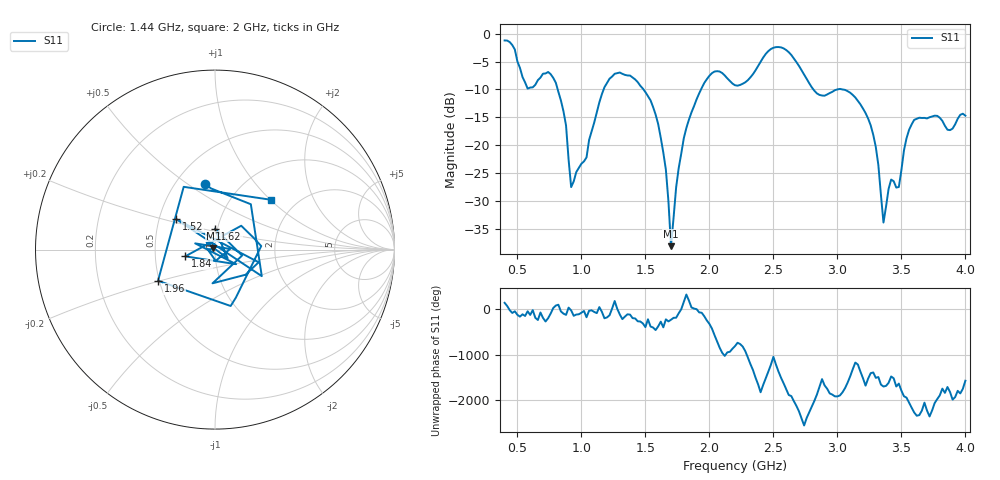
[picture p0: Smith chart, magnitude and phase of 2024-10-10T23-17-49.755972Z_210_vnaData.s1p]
! Created with skrf (http://scikit-rf.org).
# Hz S RI R 50.0
!freq ReS11 ImS11
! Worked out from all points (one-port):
!   181 points, 400 MHz to 4 GHz, reference 50 ohm
!   lowest |S11| = -38.0 dB at 1.7 GHz (marker M1), VSWR 1.03, Z = 49.2 + j0.917 ohm
!   |S11| at or under -10 dB: 814.8 MHz to 1.174 GHz (358.7 MHz wide, 36.1 % of centre); 1.485 GHz to 1.935 GHz (449.4 MHz wide, 26.3 % of centre); 3.04 GHz to end of sweep (the widest 3 of 4)
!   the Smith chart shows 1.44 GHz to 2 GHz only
!   S11 on the Smith chart (normalised r, x): 1.44 GHz: 0.70, +0.59; 1.52 GHz: 0.61, +0.23; 1.62 GHz: 0.97, +0.23; 1.84 GHz: 0.71, -0.06; 1.96 GHz: 0.49, -0.20; 2 GHz: 1.51, +1.01
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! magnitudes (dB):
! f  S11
! 400 MHz  -1.2
! 580 MHz  -9.8
! 760 MHz  -7.3
! 860 MHz  -13.9
! 920 MHz  -27.4
! 1.04 GHz  -22.1
! 1.18 GHz  -9.6
! 1.3 GHz  -7.0
! 1.44 GHz  -8.7
! 1.52 GHz  -11.2
! 1.62 GHz  -18.6
! 1.66 GHz  -24.3
! 1.7 GHz  -38.0
! 1.76 GHz  -24.1
! 1.84 GHz  -15.4
! 1.96 GHz  -8.8
! 2 GHz  -7.6
! 2.2 GHz  -9.2
! 2.5 GHz  -2.5
! 2.66 GHz  -4.5
! 2.84 GHz  -10.7
! 3.1 GHz  -10.6
! 3.28 GHz  -18.1
! 3.36 GHz  -33.8
! 3.42 GHz  -26.1
! 3.48 GHz  -27.4
! 3.56 GHz  -17.2
! 4 GHz  -14.7
